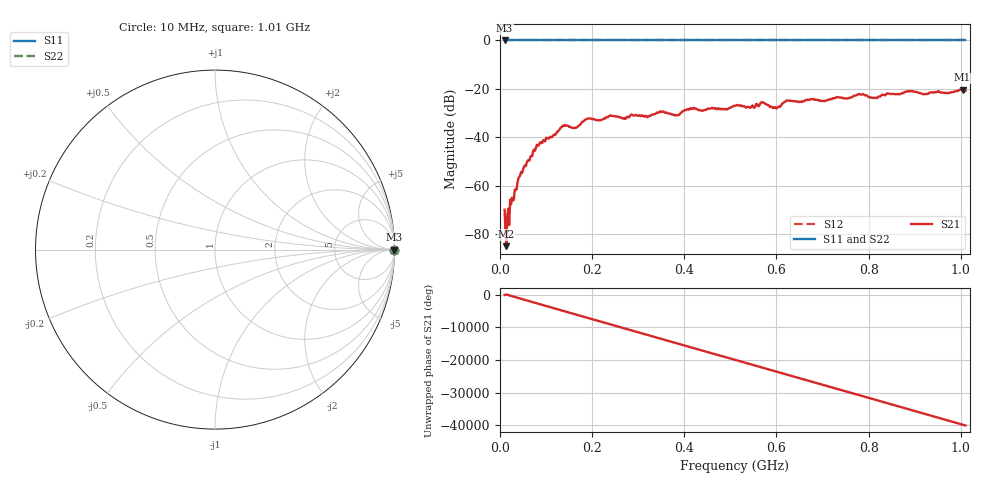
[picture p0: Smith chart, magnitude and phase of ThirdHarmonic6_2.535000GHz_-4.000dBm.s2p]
! 8/17/2025 5:04:47 AM
! C:\ANRITSUVNA\TEMP\TEMP.S2P
! CHANNEL.1
! TR.MEASUREMENT
! RAW.DATA
! RF.CORRECTION.OFF
! AVERAGING.OFF
! IF.BANDWIDTH: 5KHZ
! SWEEPTYPE:  FREQ.SWEEP(Linear)
! Reference Plane Port Info
! PORT:  PORT1  PORT2
! DISTANCE:  0  m  0  m
! TIME:  0  s  0  s
! PHASE.OFFSET:  0  deg.  0  deg.
! LOSS:  0  dB  0  dB
! REF.LOSS:  0  dB  0  dB
! REF.FREQ:  0  Hz  0  Hz
! Power Info
! POWER:  -20  dBm  -20  dBm
! EFF.POWER:  -20  dBm  -20  dBm
! SOURCE.ATTEN:  0  dB  0  dB
! TEST.ATTEN:  0  dB  0  dB
# GHZ S RI R 50.0
! FREQ.GHZ  S11RE  S11IM  S21RE  S21IM  S12RE  S12IM  S22RE  S22IM
!; PortSelection: Port_12
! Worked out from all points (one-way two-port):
!   501 points, 10 MHz to 1.01 GHz, reference 50 ohm
!   highest |S21| = -20.34 dB at 1.004 GHz (marker M1); lowest = -85.0 dB at 14 MHz (marker M2)
!   lowest |S11| = 0.0 dB at 10 MHz (marker M3)
!   |S11| at or under -10 dB: nowhere
!   |S22| runs from 0.0 to 0.0 dB; largest |S21 - S12| = 1.1
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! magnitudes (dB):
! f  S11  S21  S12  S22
! 10 MHz  0.0  -69.9  0.0  0.0
! 14 MHz  0.0  -85.0  0.0  0.0
! 16 MHz  0.0  -72.4  0.0  0.0
! 22 MHz  0.0  -65.8  0.0  0.0
! 42 MHz  0.0  -56.4  0.0  0.0
! 76 MHz  0.0  -45.6  0.0  0.0
! 136 MHz  0.0  -35.3  0.0  0.0
! 162 MHz  0.0  -36.0  0.0  0.0
! 178 MHz  0.0  -33.7  0.0  0.0
! 344 MHz  0.0  -29.9  0.0  0.0
! 384 MHz  0.0  -30.9  0.0  0.0
! 416 MHz  0.0  -28.2  0.0  0.0
! 510 MHz  0.0  -27.0  0.0  0.0
! 570 MHz  0.0  -25.5  0.0  0.0
! 596 MHz  0.0  -27.6  0.0  0.0
! 624 MHz  0.0  -24.8  0.0  0.0
! 678 MHz  0.0  -24.3  0.0  0.0
! 782 MHz  0.0  -22.3  0.0  0.0
! 814 MHz  0.0  -23.7  0.0  0.0
! 844 MHz  0.0  -22.0  0.0  0.0
! 1.004 GHz  0.0  -20.3  0.0  0.0
! 1.01 GHz  0.0  -20.9  0.0  0.0
